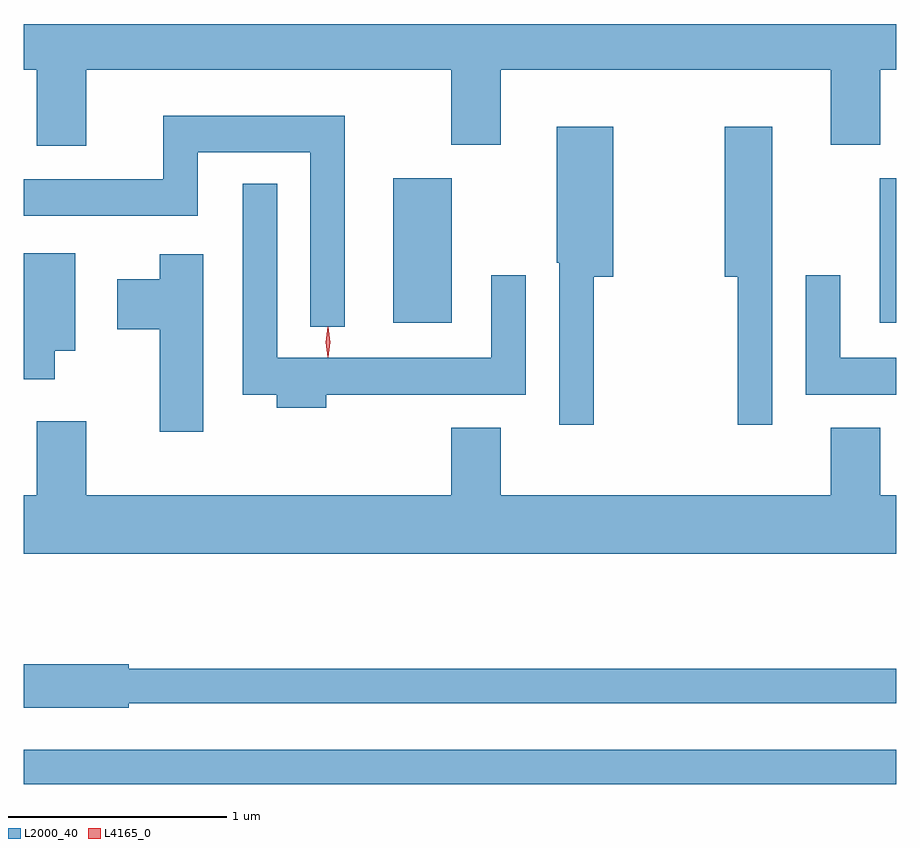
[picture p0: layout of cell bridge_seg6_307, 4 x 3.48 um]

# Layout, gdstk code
import gdstk
lib = gdstk.Library(unit=1e-6, precision=1e-09)
def R(c, l, rs):  # rectangles x0, y0, x1, y1
    for r in rs: c.add(gdstk.rectangle(r[:2], r[2:], *l))
def P(c, l, *ps):  # polygons
    for p in ps: c.add(gdstk.Polygon(p, *l))
L2000_40 = (2000, 40)
L4165_0 = (4165, 0)

bridge_seg6_307 = lib.new_cell('bridge_seg6_307')
R(bridge_seg6_307, L2000_40, [(1318.382,1533.441,1322.382,1533.599), (1320.076,1535.556,1320.344,1536.219), (1322.306,1535.556,1322.382,1536.219)])
P(bridge_seg6_307, L2000_40, [(1318.669,1536.716),(1320.341,1536.716),(1320.341,1536.371),(1320.569,1536.371),(1320.569,1536.716),(1322.081,1536.716),(1322.081,1536.371),(1322.309,1536.371),(1322.309,1536.716),(1322.382,1536.716),(1322.382,1536.925),(1318.382,1536.925),(1318.382,1536.716),(1318.441,1536.716),(1318.441,1536.366),(1318.669,1536.366)],
  [(1319.854,1536.504),(1319.021,1536.504),(1319.021,1536.214),(1318.382,1536.214),(1318.382,1536.046),(1319.179,1536.046),(1319.179,1536.336),(1319.696,1536.336),(1319.696,1535.538),(1319.854,1535.538)],
  [(1321.814,1536.454),(1321.596,1536.454),(1321.596,1535.766),(1321.656,1535.766),(1321.656,1535.088),(1321.814,1535.088)],
  [(1320.994,1535.766),(1321.084,1535.766),(1321.084,1536.454),(1320.826,1536.454),(1320.826,1535.83),(1320.836,1535.83),(1320.836,1535.088),(1320.994,1535.088)],
  [(1319.769,1535.226),(1320.684,1535.226),(1320.684,1535.773),(1320.526,1535.773),(1320.526,1535.394),(1319.544,1535.394),(1319.544,1536.193),(1319.386,1536.193),(1319.386,1535.226),(1319.541,1535.226),(1319.541,1535.166),(1319.769,1535.166)],
  [(1318.524,1535.426),(1318.619,1535.426),(1318.619,1535.874),(1318.382,1535.874),(1318.382,1535.296),(1318.524,1535.296)],
  [(1319.204,1535.869),(1319.006,1535.869),(1319.006,1535.754),(1318.811,1535.754),(1318.811,1535.526),(1319.006,1535.526),(1319.006,1535.056),(1319.204,1535.056)],
  [(1322.382,1535.394),(1322.124,1535.394),(1322.124,1535.773),(1321.966,1535.773),(1321.966,1535.226),(1322.382,1535.226)],
  [(1322.382,1534.764),(1322.309,1534.764),(1322.309,1535.074),(1322.081,1535.074),(1322.081,1534.764),(1320.569,1534.764),(1320.569,1535.074),(1320.341,1535.074),(1320.341,1534.764),(1318.669,1534.764),(1318.669,1535.104),(1318.441,1535.104),(1318.441,1534.764),(1318.382,1534.764),(1318.382,1534.496),(1322.382,1534.496)],
  [(1318.864,1533.811),(1322.382,1533.811),(1322.382,1533.969),(1318.864,1533.969),(1318.864,1533.989),(1318.382,1533.989),(1318.382,1533.791),(1318.864,1533.791)])
P(bridge_seg6_307, L4165_0, [(1319.776,1535.397),(1319.767,1535.467),(1319.776,1535.536),(1319.777,1535.536),(1319.777,1535.536),(1319.787,1535.467),(1319.777,1535.397),(1319.777,1535.397)],
  [(1319.777,1535.399),(1319.776,1535.4),(1319.767,1535.466),(1319.776,1535.532),(1319.776,1535.533),(1319.777,1535.532),(1319.786,1535.466),(1319.777,1535.4)])

lib.write_gds('bridge_seg6_307.gds')
